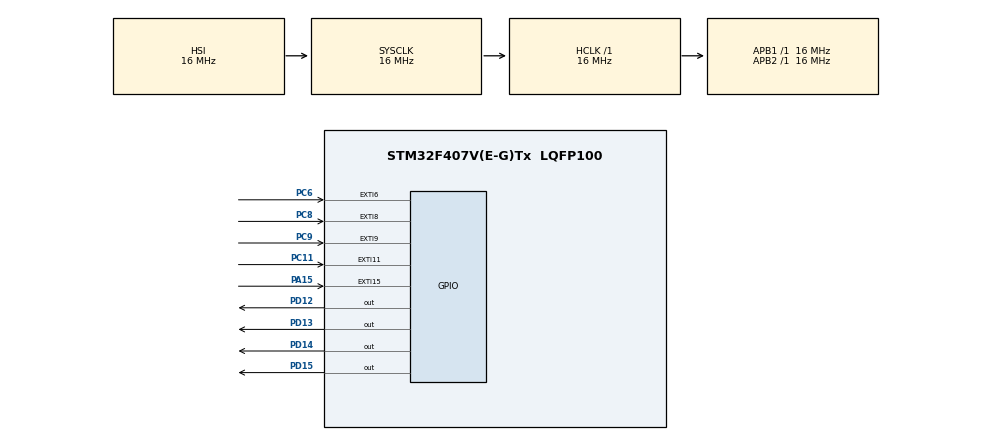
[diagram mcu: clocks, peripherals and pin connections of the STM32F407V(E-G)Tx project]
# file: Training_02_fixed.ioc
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Mcu.Family=STM32F4
Mcu.Name=STM32F407V(E-G)Tx
Mcu.Package=LQFP100
NVIC.EXTI15_10_IRQn=true\:0\:0\:false\:false\:true\:true\:true
NVIC.EXTI9_5_IRQn=true\:0\:0\:false\:false\:true\:true\:true
NVIC.PriorityGroup=NVIC_PRIORITYGROUP_4
PA15.GPIO_ModeDefaultEXTI=GPIO_MODE_IT_FALLING
PA15.Signal=GPXTI15
PC11.GPIO_ModeDefaultEXTI=GPIO_MODE_IT_FALLING
PC11.Signal=GPXTI11
PC6.GPIO_ModeDefaultEXTI=GPIO_MODE_IT_FALLING
PC6.Signal=GPXTI6
PC8.GPIO_ModeDefaultEXTI=GPIO_MODE_IT_FALLING
PC8.Signal=GPXTI8
PC9.GPIO_ModeDefaultEXTI=GPIO_MODE_IT_FALLING
PC9.Signal=GPXTI9
PD12.Signal=GPIO_Output
PD13.Signal=GPIO_Output
PD14.Signal=GPIO_Output
PD15.Signal=GPIO_Output
ProjectManager.HeapSize=0x200
ProjectManager.StackSize=0x400
ProjectManager.TargetToolchain=STM32CubeIDE
RCC.AHBFreq_Value=16000000
RCC.APB1Freq_Value=16000000
RCC.APB2Freq_Value=16000000
RCC.CortexFreq_Value=16000000
RCC.HSE_VALUE=25000000
RCC.HSI_VALUE=16000000
RCC.LSE_VALUE=32768
RCC.SYSCLKFreq_VALUE=16000000
RCC.VCOOutputFreq_Value=192000000
board=custom

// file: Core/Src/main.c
/* USER CODE BEGIN Header */
/**
  ******************************************************************************
  * @file           : main.c
  * @brief          : Main program body
  ******************************************************************************
  * @attention
  *
  * <h2><center>&copy; Copyright (c) 2021 STMicroelectronics.
  * All rights reserved.</center></h2>
  *
  * This software component is licensed by ST under BSD 3-Clause license,
  * the "License"; You may not use this file except in compliance with the
  * License. You may obtain a copy of the License at:
  *                        opensource.org/licenses/BSD-3-Clause
  *
  ******************************************************************************
  */
/* USER CODE END Header */
#include "main.h"

/* USER CODE BEGIN PD */
#define DELAY_VALUE 25
/* USER CODE END PD */

/* USER CODE BEGIN PV */
extern int8_t mode_blink,
              delay_step;

extern _Bool blink_on;
/* USER CODE END PV */

void SystemClock_Config(void);
static void MX_GPIO_Init(void);

/* USER CODE BEGIN 0 */
void firstBlinkMode(void);
void secondBlinkMode(void);
void thirdBlinkMode(void);
void fourthBlinkMode(void);
void fifthBlinkMode(void);
void pinSet(void);
void pinReset(void);

uint16_t pins[4] = {GPIO_PIN_12, GPIO_PIN_13, GPIO_PIN_14, GPIO_PIN_15};

/* USER CODE END 0 */

int main(void)
{

  /* MCU Configuration--------------------------------------------------------*/

  /* Reset of all peripherals, Initializes the Flash interface and the Systick. */
  HAL_Init();

  /* Configure the system clock */
  SystemClock_Config();

  /* Initialize all configured peripherals */
  MX_GPIO_Init();

  /* Infinite loop */
  /* USER CODE BEGIN WHILE */
  while (1)
  {

	  if(blink_on)
	  {
		  switch(mode_blink)
		  {
			  case 1:
			  {
				  firstBlinkMode();

				  break;
			  }

			  case 2:
			  {

				  secondBlinkMode();

				  break;
			  }

			  case 3:
			  {

				  thirdBlinkMode();

				  break;
			  }

			  case 4:
			  {

				  fourthBlinkMode();

				  break;
			  }

			  case 5:
			  {

				  fifthBlinkMode();

				  break;
			  }

			  default:
			  {
				  pinSet();

				  break;
			  }
		  }
	  }
	  else
	  {
		  pinReset();
	  }
    /* USER CODE END WHILE */

  }
}

void SystemClock_Config(void)
{
  RCC_OscInitTypeDef RCC_OscInitStruct = {0};
  RCC_ClkInitTypeDef RCC_ClkInitStruct = {0};

  /** Configure the main internal regulator output voltage
  */
  __HAL_RCC_PWR_CLK_ENABLE();
  __HAL_PWR_VOLTAGESCALING_CONFIG(PWR_REGULATOR_VOLTAGE_SCALE1);
  /** Initializes the RCC Oscillators according to the specified parameters
  * in the RCC_OscInitTypeDef structure.
  */
  RCC_OscInitStruct.OscillatorType = RCC_OSCILLATORTYPE_HSI;
  RCC_OscInitStruct.HSIState = RCC_HSI_ON;
  RCC_OscInitStruct.HSICalibrationValue = RCC_HSICALIBRATION_DEFAULT;
  RCC_OscInitStruct.PLL.PLLState = RCC_PLL_NONE;
  if (HAL_RCC_OscConfig(&RCC_OscInitStruct) != HAL_OK)
  {
    Error_Handler();
  }
  /** Initializes the CPU, AHB and APB buses clocks
  */
  RCC_ClkInitStruct.ClockType = RCC_CLOCKTYPE_HCLK|RCC_CLOCKTYPE_SYSCLK
                              |RCC_CLOCKTYPE_PCLK1|RCC_CLOCKTYPE_PCLK2;
  RCC_ClkInitStruct.SYSCLKSource = RCC_SYSCLKSOURCE_HSI;
  RCC_ClkInitStruct.AHBCLKDivider = RCC_SYSCLK_DIV1;
  RCC_ClkInitStruct.APB1CLKDivider = RCC_HCLK_DIV1;
  RCC_ClkInitStruct.APB2CLKDivider = RCC_HCLK_DIV1;

  if (HAL_RCC_ClockConfig(&RCC_ClkInitStruct, FLASH_LATENCY_0) != HAL_OK)
  {
    Error_Handler();
  }
}

static void MX_GPIO_Init(void)
{
  GPIO_InitTypeDef GPIO_InitStruct = {0};

  /* GPIO Ports Clock Enable */
  __HAL_RCC_GPIOD_CLK_ENABLE();
  __HAL_RCC_GPIOC_CLK_ENABLE();
  __HAL_RCC_GPIOA_CLK_ENABLE();

  /*Configure GPIO pin Output Level */
  HAL_GPIO_WritePin(GPIOD, GPIO_PIN_12|GPIO_PIN_13|GPIO_PIN_14|GPIO_PIN_15, GPIO_PIN_RESET);

  /*Configure GPIO pins : PD12 PD13 PD14 PD15 */
  GPIO_InitStruct.Pin = GPIO_PIN_12|GPIO_PIN_13|GPIO_PIN_14|GPIO_PIN_15;
  GPIO_InitStruct.Mode = GPIO_MODE_OUTPUT_PP;
  GPIO_InitStruct.Pull = GPIO_NOPULL;
  GPIO_InitStruct.Speed = GPIO_SPEED_FREQ_LOW;
  HAL_GPIO_Init(GPIOD, &GPIO_InitStruct);

  /*Configure GPIO pins : PC6 PC8 PC9 PC11 */
  GPIO_InitStruct.Pin = GPIO_PIN_6|GPIO_PIN_8|GPIO_PIN_9|GPIO_PIN_11;
  GPIO_InitStruct.Mode = GPIO_MODE_IT_FALLING;
  GPIO_InitStruct.Pull = GPIO_NOPULL;
  HAL_GPIO_Init(GPIOC, &GPIO_InitStruct);

  /*Configure GPIO pin : PA15 */
  GPIO_InitStruct.Pin = GPIO_PIN_15;
  GPIO_InitStruct.Mode = GPIO_MODE_IT_FALLING;
  GPIO_InitStruct.Pull = GPIO_NOPULL;
  HAL_GPIO_Init(GPIOA, &GPIO_InitStruct);

  /* EXTI interrupt init*/
  HAL_NVIC_SetPriority(EXTI9_5_IRQn, 0, 0);
  HAL_NVIC_EnableIRQ(EXTI9_5_IRQn);

  HAL_NVIC_SetPriority(EXTI15_10_IRQn, 0, 0);
  HAL_NVIC_EnableIRQ(EXTI15_10_IRQn);

}

/* USER CODE BEGIN 4 */
void firstBlinkMode(void)
{
	uint8_t second_led = 3,
		    first_led = 0;

    for(first_led = 0; first_led < 4; first_led++)
    {

	    HAL_GPIO_WritePin(GPIOD, pins[first_led] | pins[second_led], GPIO_PIN_SET);
	    HAL_Delay(delay_step * DELAY_VALUE);

	    HAL_GPIO_WritePin(GPIOD, pins[first_led] | pins[second_led], GPIO_PIN_RESET);

	    second_led = first_led;
    }
}

void secondBlinkMode(void)
{
	HAL_GPIO_WritePin(GPIOD, pins[0] | pins[1] | pins[2] | pins[3], GPIO_PIN_SET);

	for(uint8_t first_led = 0; first_led < 4; first_led++)
	{

		HAL_GPIO_WritePin(GPIOD, pins[first_led], GPIO_PIN_RESET);
		HAL_Delay(delay_step * DELAY_VALUE);

		HAL_GPIO_WritePin(GPIOD, pins[first_led], GPIO_PIN_SET);
	}
}

void thirdBlinkMode(void)
{
	  uint8_t  first_led = 0;

      for(first_led = 0; first_led < 4; first_led++)
      {

		  HAL_GPIO_WritePin(GPIOD, pins[first_led], GPIO_PIN_SET);
		  HAL_Delay(delay_step * DELAY_VALUE);

		  HAL_GPIO_WritePin(GPIOD, pins[first_led], GPIO_PIN_RESET);
	  }
}

void fourthBlinkMode(void)
{
	for(uint8_t first_led = 0, second_led = 2; first_led < 2; first_led++, second_led++)
	{
		HAL_GPIO_WritePin(GPIOD, pins[first_led] | pins[second_led], GPIO_PIN_SET);
    	HAL_Delay(delay_step * DELAY_VALUE);

	    HAL_GPIO_WritePin(GPIOD, pins[first_led] | pins[second_led], GPIO_PIN_RESET);
	}
}

void fifthBlinkMode(void)
{
	for(uint8_t first_led = 0, second_led = 1; first_led < 4; first_led += 2, second_led += 2)
	{

	    HAL_GPIO_WritePin(GPIOD, pins[first_led] | pins[second_led], GPIO_PIN_SET);
		HAL_Delay(delay_step * DELAY_VALUE);

		HAL_GPIO_WritePin(GPIOD, pins[first_led] | pins[second_led], GPIO_PIN_RESET);
	}
}

void pinSet(void)
{
	HAL_GPIO_WritePin(GPIOD, pins[0] | pins[1] | pins[2] | pins[3], GPIO_PIN_SET);
}

void pinReset(void)
{
	HAL_GPIO_WritePin(GPIOD, pins[0] | pins[1] | pins[2] | pins[3], GPIO_PIN_RESET);
}
/* USER CODE END 4 */

void Error_Handler(void)
{
  __disable_irq();
  while (1)
  {
  }
}

/************************ (C) COPYRIGHT STMicroelectronics *****END OF FILE****/
